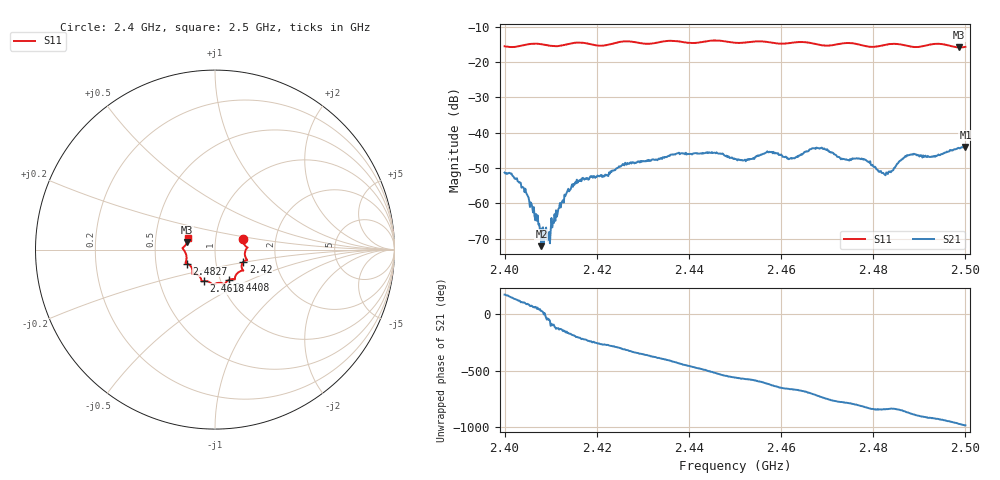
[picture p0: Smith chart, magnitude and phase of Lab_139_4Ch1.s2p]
# Hz S RI R 50
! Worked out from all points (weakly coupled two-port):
!   601 points, 2.4 GHz to 2.5 GHz, reference 50 ohm
!   highest |S21| = -44.02 dB at 2.5 GHz (marker M1); lowest = -72.1 dB at 2.408 GHz (marker M2)
!   lowest |S11| = -15.9 dB at 2.4987 GHz (marker M3), VSWR 1.38, Z = 36.5 + j3.21 ohm
!   |S11| at or under -10 dB: start of sweep to end of sweep
!   S12 and S22 are empty: the file has one direction only
!   S11 on the Smith chart (normalised r, x): 2.4 GHz: 1.35, +0.17; 2.42 GHz: 1.36, -0.19; 2.4408 GHz: 1.10, -0.38; 2.4618 GHz: 0.84, -0.30; 2.4827 GHz: 0.72, -0.12; 2.5 GHz: 0.73, +0.09
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2.4e9  0.1552 0.0616  -0.00271 0.000201  0 0  0 0
2.4015e9  0.1572 0.0425  -0.00229 0.0013  0 0  0 0
2.404333e9  0.1732 0.0168  -0.000353 0.0014  0 0  0 0
2.408e9  0.1785 0.00878  0.000212 0.000128  0 0  0 0
2.4095e9  0.1715 -0.0015  0.000251 -0.000268  0 0  0 0
2.4135e9  0.1717 -0.0466  -0.00127 -0.000645  0 0  0 0
2.416667e9  0.1786 -0.0588  -0.00159 0.0013  0 0  0 0
2.42e9  0.1572 -0.069  -0.000665 0.00227  0 0  0 0
2.426167e9  0.1578 -0.117  0.00255 0.00275  0 0  0 0
2.433333e9  0.1119 -0.1529  0.0038 -0.00181  0 0  0 0
2.440833e9  0.0783 -0.1685  -0.00143 -0.00484  0 0  0 0
2.45e9  0.0273 -0.1852  -0.00397 0.0015  0 0  0 0
2.4575e9  -0.0204 -0.189  -0.000868 0.0053  0 0  0 0
2.461833e9  -0.0609 -0.1753  0.00233 0.00357  0 0  0 0
2.466667e9  -0.0765 -0.1682  0.00568 0.00177  0 0  0 0
2.478e9  -0.1256 -0.1147  -0.00067 -0.00418  0 0  0 0
2.482667e9  -0.1576 -0.0775  -0.0013 -0.00213  0 0  0 0
2.483333e9  -0.1616 -0.0762  -0.00134 -0.00246  0 0  0 0
2.4875e9  -0.1591 -0.0556  -0.00408 -0.00243  0 0  0 0
2.493e9  -0.1794 0.00448  -0.0043 0.00172  0 0  0 0
2.498667e9  -0.1549 0.0429  -0.00183 0.00572  0 0  0 0
2.5e9  -0.1516 0.0625  -0.000656 0.00626  0 0  0 0
